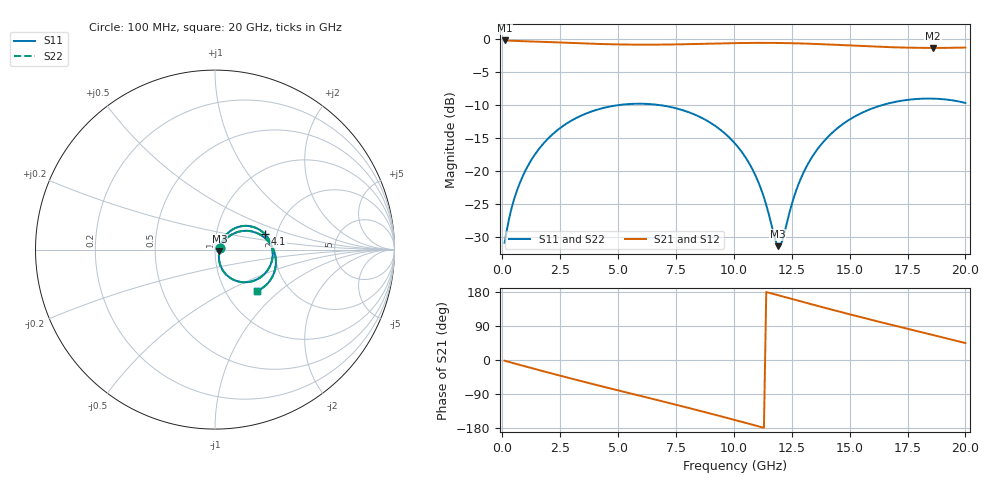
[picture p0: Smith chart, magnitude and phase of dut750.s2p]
! Touchstone file exported from HFSS 2026.1.0
!  File:  C:/ffzhzh/LocalFiles/Ansys_Project_Files/temp_train_TSV_RDL_750_1783205874_55132.aedt
!  Generated:  07:10:39 AM Jul  5, 2026
!  Design:  TSV_RDL
!  Project:  temp_train_TSV_RDL_750_1783205874_55132
! Variables:
!  h_bsmrdl = 2.7um
!  h_ox = 20um
!  h_rdl = 5um
!  h_sub = 73.85um
!  h_tmrdl = 4.15um
!  h_tsv = 73.85um
!  h_via = 3um
!  l_bsmrdl = 997.95um
!  l_sub = 5383.96um
!  l_tmrdl = 460.38um
!  m_sub = 200um
!  pitch = 35.53um
!  r_tsv = 7.13um
!  s_tmrdl = 10um
!  w_bsmrdl = 20.91um
!  w_sub = 500um
!  w_tmrdl = 28.62um
!  x_tsv_center1 = 474.69um
!  x_tsv_center2 = 1493.55um
!  x_tsv_center3 = 1982.55um
!  x_tsv_center4 = 3001.41um
!  x_tsv_center5 = 3490.41um
!  x_tsv_center6 = 4509.27um
# GHz S MA R 50.000000
! Terminal data exported
! Port[1] = TM_RDL1_1_T1
! Port[2] = TM_RDL5_1_T1
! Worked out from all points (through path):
!   200 points, 100 MHz to 20 GHz, reference 50 ohm
!   highest |S21| = -0.23 dB at 100 MHz (marker M1); lowest = -1.4 dB at 18.6 GHz (marker M2)
!   group delay of S21, straight-line fit = 43.9 ps
!   lowest |S11| = -31.4 dB at 11.9 GHz (marker M3), VSWR 1.06, Z = 52.6 - j1.07 ohm
!   |S11| at or under -10 dB: start of sweep to 5.047 GHz; 6.764 GHz to 16.42 GHz (9.657 GHz wide, 83.3 % of centre)
!   |S22| runs from -31.6 to -9.0 dB; largest |S21 - S12| = 1.7e-14
!   S11 on the Smith chart (normalised r, x): 100 MHz: 1.05, +0.02; 4.1 GHz: 1.74, +0.32; 20 GHz: 1.39, -0.72
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0.1  0.0287 22.9  0.9739 -1.8  0.9739 -1.8  0.0287 22.9
! Gamma 0 0 0 0
! Port Impedance 50 0 50 0
0.3  0.04417 42.9  0.9701 -5.3  0.9701 -5.3  0.04417 42.9
0.6  0.06844 51.1  0.9656 -10.4  0.9656 -10.4  0.06844 51.1
1.3  0.1249 51.5  0.9568 -22.0  0.9568 -22.0  0.1249 51.5
2.3  0.1987 41.2  0.9427 -38.2  0.9427 -38.2  0.1987 41.2
3.5  0.2672 25.3  0.925 -57.2  0.925 -57.2  0.2672 25.3
4.1  0.2917 17.0  0.9173 -66.4  0.9173 -66.4  0.2917 16.9
5.4  0.3209 -1.2  0.9065 -86.2  0.9065 -86.2  0.321 -1.2
6.8  0.3156 -20.7  0.9056 -107.4  0.9056 -107.4  0.3157 -20.8
8.4  0.2633 -43.0  0.9159 -132.0  0.9159 -132.0  0.2633 -43.1
10.1  0.158 -65.0  0.93 -159.2  0.93 -159.2  0.1579 -65.2
11.1  0.07915 -70.7  0.9339 -175.6  0.9339 -175.6  0.07901 -71.2
11.9  0.02702 -22.1  0.9325 171.1  0.9325 171.1  0.02629 -22.6
12.1  0.02995 10.8  0.9314 167.8  0.9314 167.8  0.02924 11.3
12.5  0.05597 38.9  0.9285 161.1  0.9285 161.1  0.05552 39.6
12.8  0.08016 43.2  0.9256 156.2  0.9256 156.2  0.07982 43.8
13.4  0.1295 41.4  0.9182 146.3  0.9182 146.3  0.1293 41.8
14.1  0.1841 34.2  0.9076 135.0  0.9076 135.0  0.1839 34.4
15  0.2455 22.7  0.8925 120.6  0.8925 120.6  0.2454 22.9
16.7  0.3259 -0.3  0.8669 94.4  0.8669 94.4  0.3258 -0.1
18.6  0.3534 -25.9  0.8551 65.9  0.8551 65.9  0.3533 -25.8
20  0.3278 -44.6  0.8607 44.8  0.8607 44.8  0.3277 -44.5
